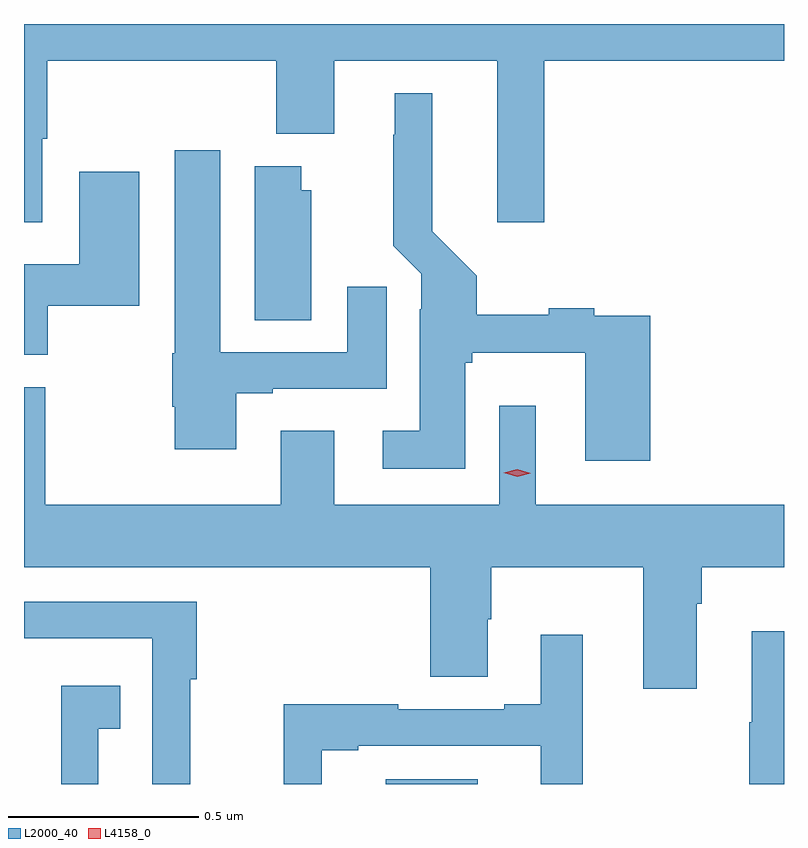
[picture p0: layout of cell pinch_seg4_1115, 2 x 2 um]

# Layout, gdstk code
import gdstk
lib = gdstk.Library(unit=1e-6, precision=1e-09)
def R(c, l, rs):  # rectangles x0, y0, x1, y1
    for r in rs: c.add(gdstk.rectangle(r[:2], r[2:], *l))
def P(c, l, *ps):  # polygons
    for p in ps: c.add(gdstk.Polygon(p, *l))
L2000_40 = (2000, 40)
L4158_0 = (4158, 0)

pinch_seg4_1115 = lib.new_cell('pinch_seg4_1115')
R(pinch_seg4_1115, L2000_40, [(569.081,813.565,569.323,813.577)])
P(pinch_seg4_1115, L2000_40, [(568.177,815.263),(568.19,815.263),(568.19,815.468),(568.793,815.468),(568.793,815.276),(568.945,815.276),(568.945,815.468),(569.375,815.468),(569.375,815.043),(569.498,815.043),(569.498,815.468),(570.129,815.468),(570.129,815.565),(568.129,815.565),(568.129,815.043),(568.177,815.043)],
  [(569.29,814.674),(569.308,814.674),(569.308,814.7),(569.606,814.7),(569.606,814.416),(569.777,814.416),(569.777,814.797),(569.63,814.797),(569.63,814.817),(569.51,814.817),(569.51,814.8),(569.321,814.8),(569.321,814.902),(569.203,815.02),(569.203,815.383),(569.105,815.383),(569.105,815.273),(569.101,815.273),(569.101,814.982),(569.175,814.908),(569.175,814.814),(569.171,814.814),(569.171,814.495),(569.073,814.495),(569.073,814.394),(569.29,814.394)],
  [(568.687,814.593),(568.783,814.593),(568.783,814.605),(569.083,814.605),(569.083,814.873),(568.979,814.873),(568.979,814.701),(568.645,814.701),(568.645,815.233),(568.526,815.233),(568.526,814.698),(568.519,814.698),(568.519,814.558),(568.526,814.558),(568.526,814.446),(568.687,814.446)],
  [(568.885,815.127),(568.858,815.127),(568.858,815.191),(568.736,815.191),(568.736,814.786),(568.885,814.786)],
  [(568.192,814.823),(568.432,814.823),(568.432,815.176),(568.274,815.176),(568.274,814.933),(568.129,814.933),(568.129,814.694),(568.192,814.694)],
  [(569.899,814.04),(569.912,814.04),(569.912,814.136),(570.129,814.136),(570.129,814.3),(569.476,814.3),(569.476,814.561),(569.379,814.561),(569.379,814.3),(568.945,814.3),(568.945,814.495),(568.805,814.495),(568.805,814.3),(568.185,814.3),(568.185,814.609),(568.129,814.609),(568.129,814.136),(569.198,814.136),(569.198,813.847),(569.35,813.847),(569.35,813.998),(569.358,813.998),(569.358,814.136),(569.759,814.136),(569.759,813.816),(569.899,813.816)],
  [(568.566,813.841),(568.583,813.841),(568.583,814.044),(568.129,814.044),(568.129,813.948),(568.467,813.948),(568.467,813.62),(568.466,813.62),(568.466,813.565),(568.566,813.565)],
  [(570.129,813.967),(570.044,813.967),(570.044,813.728),(570.037,813.728),(570.037,813.565),(570.129,813.565)],
  [(568.912,813.654),(569.008,813.654),(569.008,813.666),(569.489,813.666),(569.489,813.565),(569.599,813.565),(569.599,813.958),(569.489,813.958),(569.489,813.775),(569.393,813.775),(569.393,813.762),(569.114,813.762),(569.114,813.775),(568.813,813.775),(568.813,813.565),(568.912,813.565)],
  [(568.324,813.71),(568.382,813.71),(568.382,813.823),(568.227,813.823),(568.227,813.565),(568.324,813.565)])
P(pinch_seg4_1115, L4158_0, [(569.427,814.373),(569.392,814.384),(569.391,814.384),(569.392,814.384),(569.427,814.393),(569.462,814.383),(569.462,814.383),(569.462,814.383)])

lib.write_gds('pinch_seg4_1115.gds')
